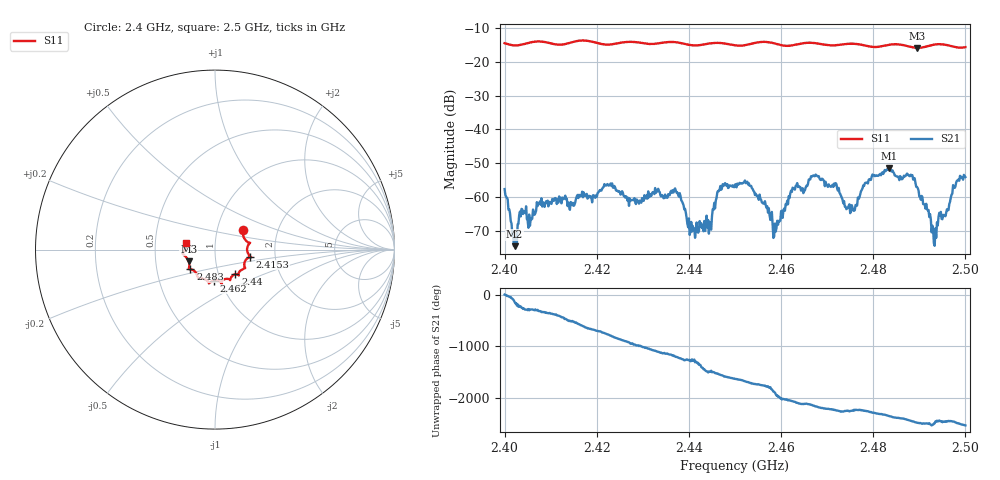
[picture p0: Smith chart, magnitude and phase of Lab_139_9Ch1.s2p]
# Hz S RI R 50
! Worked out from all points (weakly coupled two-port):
!   601 points, 2.4 GHz to 2.5 GHz, reference 50 ohm
!   highest |S21| = -51.53 dB at 2.4835 GHz (marker M1); lowest = -74.5 dB at 2.4022 GHz (marker M2)
!   lowest |S11| = -15.9 dB at 2.4895 GHz (marker M3), VSWR 1.38, Z = 36.9 - j5 ohm
!   |S11| at or under -10 dB: start of sweep to end of sweep
!   S12 and S22 are empty: the file has one direction only
!   S11 on the Smith chart (normalised r, x): 2.4 GHz: 1.33, +0.29; 2.4153 GHz: 1.48, -0.12; 2.44 GHz: 1.20, -0.34; 2.462 GHz: 0.93, -0.33; 2.483 GHz: 0.74, -0.17; 2.5 GHz: 0.72, +0.06
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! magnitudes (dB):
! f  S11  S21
! 2.4 GHz  -14.5  -57.6
! 2.4022 GHz  -15.2  -74.5
! 2.4042 GHz  -14.8  -64.6
! 2.4153 GHz  -14.0  -61.5
! 2.4167 GHz  -13.7  -59.6
! 2.4333 GHz  -14.5  -57.5
! 2.4375 GHz  -14.3  -58.6
! 2.44 GHz  -15.0  -66.3
! 2.4445 GHz  -14.6  -67.3
! 2.4467 GHz  -14.4  -57.7
! 2.45 GHz  -15.1  -56.3
! 2.453 GHz  -14.9  -55.9
! 2.4587 GHz  -14.6  -67.8
! 2.462 GHz  -15.2  -58.9
! 2.4667 GHz  -14.4  -54.0
! 2.4755 GHz  -14.7  -63.1
! 2.483 GHz  -15.1  -51.8
! 2.4833 GHz  -15.0  -51.6
! 2.4835 GHz  -15.0  -51.5
! 2.4895 GHz  -15.9  -57.0
! 2.4932 GHz  -14.9  -73.7
! 2.5 GHz  -15.7  -54.1
